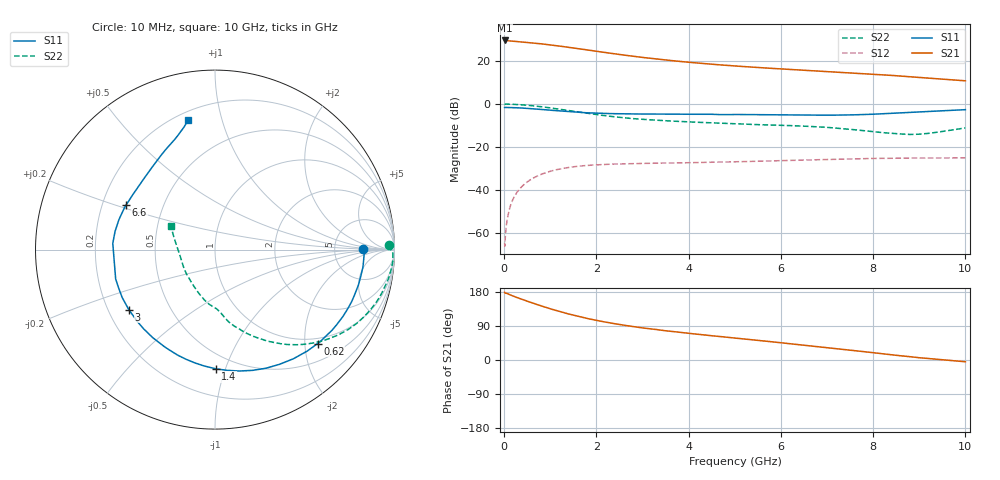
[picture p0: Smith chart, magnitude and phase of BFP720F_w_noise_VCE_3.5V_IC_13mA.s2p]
! Infineon Technologies  Discrete & RF Semiconductors
! BFP720F
! VCE =  3.5 V,  IC =  13 mA
! Common Emitter S-Parameters:  Jan 2016
# GHz  S  MA  R  50
!  f  S11  S21  S12  S22
! GHz  MAG  ANG  MAG  ANG  MAG  ANG  MAG  ANG
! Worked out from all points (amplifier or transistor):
!   233 points, 10 MHz to 10 GHz, reference 50 ohm
!   highest |S21| = 29.5 dB at 10 MHz (marker M1)
!   |S21| within 3 dB of that: start of sweep to 1.335 GHz
!   unconditionally stable (mu >= 1): start of sweep to 14.46 MHz; 6.378 GHz to end of sweep
!   at 200 MHz: K = 0.09, MSG = 36.5 dB, |S12| = -43.9 dB
!   at 1.74 GHz: K = 0.35, MSG = 27.0 dB, |S12| = -28.6 dB
!   at 10 GHz: K = 1.23, MAG = 15.0 dB, |S12| = -25.0 dB
!   lowest NFmin = 0.64 dB at 450 MHz
!   S11 on the Smith chart (normalised r, x): 10 MHz: 10, +0; 620 MHz: 0.87, -2.29; 1.4 GHz: 0.39, -0.93; 3 GHz: 0.29, -0.29; 6.6 GHz: 0.30, +0.22; 10 GHz: 0.25, +0.79
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0.01  0.8257 0.2  29.85 178.7  0.0006 13.8  0.9671 1.4
0.02  0.8318 -1.1  29.48 176.6  0.0007 86.7  0.9919 -1.1
0.05  0.8308 -3.5  29.56 176.3  0.0016 82.5  0.992 -1.9
0.26  0.8173 -18.1  28.24 165.7  0.0083 79.3  0.9755 -10.6
0.4  0.804 -27.7  27.38 159.4  0.0126 74.5  0.9532 -16.3
0.62  0.7751 -42.5  26.06 150.2  0.0188 66.9  0.9085 -24.6
0.8  0.7486 -54.4  25 142.8  0.0232 61.0  0.8659 -30.9
1  0.7193 -66.8  23.54 135.1  0.0274 54.9  0.8115 -37.4
1.2  0.6901 -78.6  22.1 128.0  0.0309 49.5  0.7567 -43.4
1.4  0.664 -89.7  20.68 121.4  0.0336 44.7  0.7036 -48.9
1.68  0.6331 -104.0  18.78 112.9  0.0365 39.0  0.6335 -55.6
1.92  0.6144 -114.4  17.23 106.5  0.0382 34.9  0.5822 -60.7
2.2  0.6017 -124.7  15.61 99.9  0.0396 30.9  0.5326 -65.7
2.6  0.5909 -136.4  13.64 91.7  0.0408 26.6  0.4776 -71.5
3  0.5853 -145.1  12.04 84.7  0.0417 23.9  0.4403 -75.8
3.4  0.5818 -151.3  10.79 78.8  0.0423 21.9  0.4142 -78.7
4  0.5778 -158.7  9.296 70.3  0.0433 19.7  0.3833 -81.8
5.1  0.569 175.2  7.506 56.7  0.0458 17.5  0.3444 -86.1
6.6  0.5538 153.2  6.001 37.9  0.0502 14.5  0.3024 -97.0
6.8  0.5513 149.7  5.832 35.3  0.0508 14.0  0.2942 -99.4
8.4  0.6073 119.3  4.61 13.8  0.055 8.6  0.2085 -139.9
10  0.7382 101.6  3.451 -4.7  0.0563 4.3  0.2786 152.1
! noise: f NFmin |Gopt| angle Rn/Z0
0.45  0.64  0.27  2  0.64
0.9  0.67  0.23  8  0.14
1.8  0.7  0.21  11  0.15
2.4  0.72  0.18  18  0.13
5.5  0.88  0.15  30  0.08
10  1.04  0.3  -88  0.19
